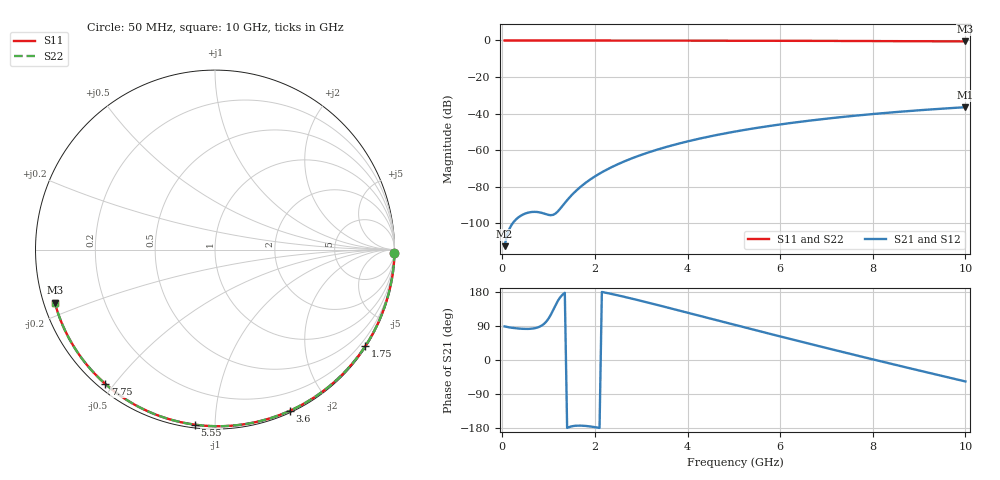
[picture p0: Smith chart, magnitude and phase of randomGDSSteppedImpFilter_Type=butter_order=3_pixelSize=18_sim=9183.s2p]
! freq	dB(S11)	phase(S11)	dB(S12)	phase(S12)
!  dB(S21)	phase(S21)	dB(S22)	phase(S22)
!S-par simulation data
#  GHz  S  DB  R 50
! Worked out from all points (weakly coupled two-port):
!   200 points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, 50 MHz to 10 GHz, reference 50 ohm
!   highest |S21| = -36.53 dB at 10 GHz (marker M1); lowest = -112.6 dB at 50 MHz (marker M2)
!   lowest |S11| = -0.5 dB at 10 GHz (marker M3), VSWR 32.43, Z = 1.58 - j8.06 ohm
!   |S11| at or under -10 dB: nowhere
!   |S22| runs from -0.5 to 0.0 dB; largest |S21 - S12| = 0
!   S11 on the Smith chart (normalised r, x): 50 MHz: open; 1.75 GHz: 0.03, -3.42; 3.6 GHz: 0.02, -1.57; 5.55 GHz: 0.02, -0.89; 7.75 GHz: 0.02, -0.47; 10 GHz: 0.03, -0.16
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0.05  -0.00 -1.0  -112.56 88.6  -112.56 88.6  -0.00 -1.0
0.45  -0.01 -8.5  -95.21 82.2  -95.21 82.2  -0.01 -8.5
0.85  -0.02 -16.0  -94.32 90.8  -94.32 90.8  -0.02 -16.0
1.65  -0.04 -30.8  -80.95 -173.2  -80.95 -173.2  -0.04 -30.8
1.7  -0.04 -31.7  -79.88 -173.2  -79.88 -173.2  -0.04 -31.7
1.75  -0.04 -32.6  -78.85 -173.5  -78.85 -173.5  -0.04 -32.6
1.9  -0.04 -35.3  -76.06 -175.4  -76.06 -175.4  -0.04 -35.3
2.05  -0.05 -38.1  -73.62 -178.2  -73.62 -178.2  -0.05 -38.1
2.25  -0.05 -41.6  -70.76 177.1  -70.76 177.1  -0.05 -41.6
2.45  -0.06 -45.2  -68.25 171.9  -68.25 171.9  -0.06 -45.2
2.9  -0.07 -53.1  -63.53 158.9  -63.53 158.9  -0.07 -53.1
3.4  -0.08 -61.7  -59.32 143.7  -59.32 143.7  -0.08 -61.7
3.6  -0.09 -65.1  -57.86 137.4  -57.86 137.4  -0.09 -65.1
4.3  -0.11 -76.7  -53.49 115.4  -53.49 115.4  -0.11 -76.7
5.05  -0.14 -88.8  -49.74 91.8  -49.74 91.8  -0.14 -88.8
5.55  -0.16 -96.6  -47.64 76.2  -47.64 76.2  -0.16 -96.5
6.1  -0.19 -104.9  -45.61 59.1  -45.61 59.1  -0.19 -104.9
6.7  -0.22 -113.9  -43.68 40.7  -43.68 40.7  -0.22 -113.9
7.75  -0.30 -129.2  -40.85 9.1  -40.85 9.1  -0.30 -129.2
8.35  -0.35 -137.8  -39.50 -8.7  -39.50 -8.7  -0.35 -137.8
9.2  -0.44 -150.0  -37.84 -33.5  -37.84 -33.5  -0.44 -150.0
10  -0.54 -161.7  -36.53 -56.6  -36.53 -56.6  -0.54 -161.7
